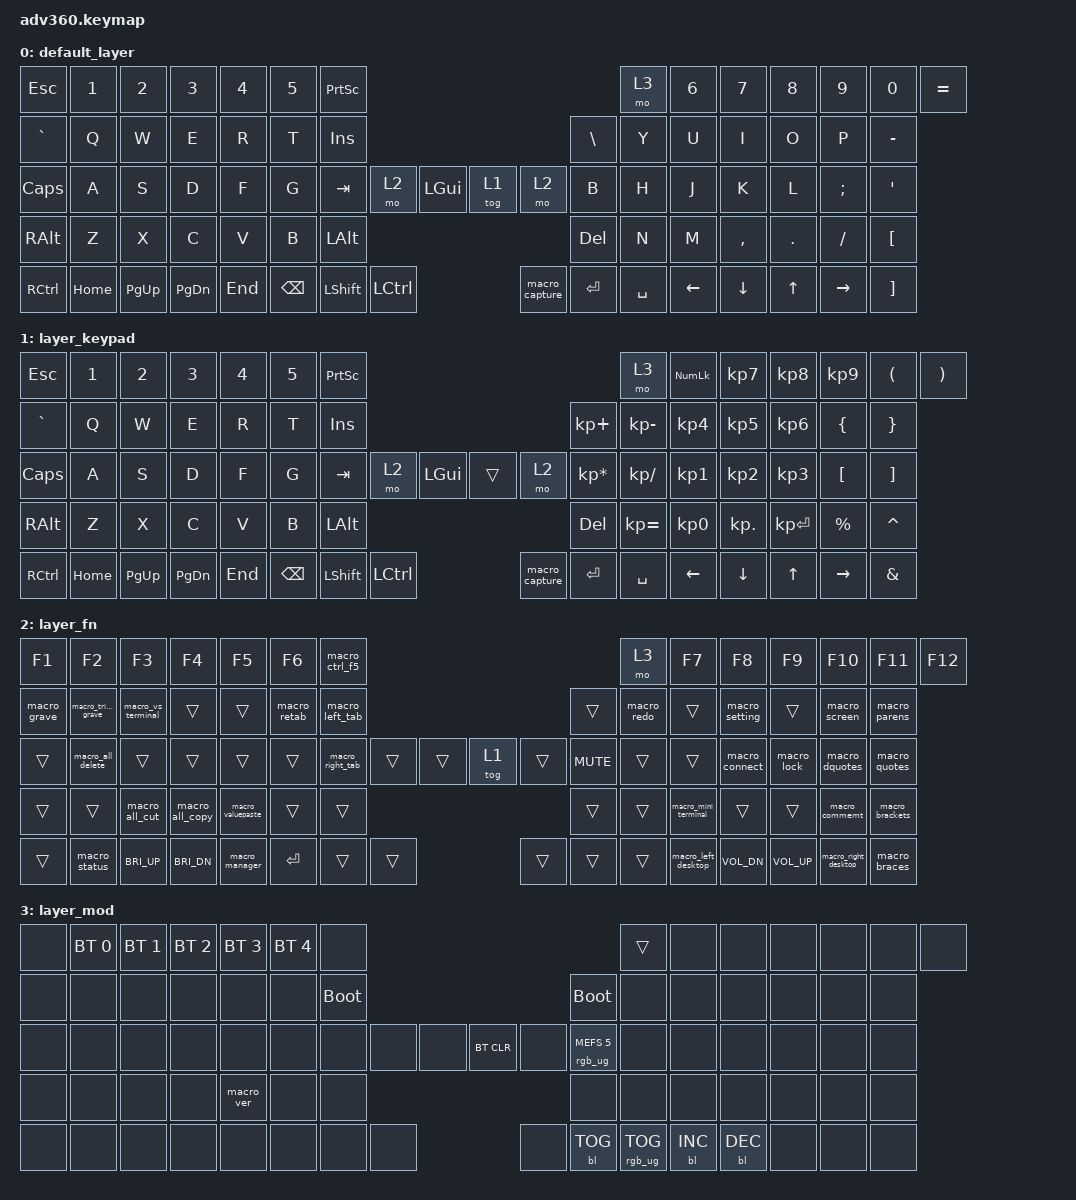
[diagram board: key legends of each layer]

/*
 * Copyright (c) 2020 The ZMK Contributors
 *
 * SPDX-License-Identifier: MIT
 */


/* THIS FILE WAS GENERATED!
 *
 * This file was generated automatically. You may or may not want to
 * edit it directly.
 */

#include <behaviors.dtsi>
#include <dt-bindings/zmk/keys.h>
#include <dt-bindings/zmk/bt.h>
#include <dt-bindings/zmk/rgb.h>
#include <dt-bindings/zmk/backlight.h>

/ {
  behaviors {
    #include "macros.dtsi"
    #include "version.dtsi"

    hm: homerow_mods {
        compatible = "zmk,behavior-hold-tap";
        label = "HOMEROW_MODS";
        #binding-cells = <2>;
        tapping-term-ms = <200>;
        quick_tap_ms = <175>;
        flavor = "tap-preferred";
        bindings = <&kp>, <&kp>;
    };
  };

    keymap {
        compatible = "zmk,keymap";


        default_layer {
            bindings = <
   &kp ESC    &kp N1     &kp N2     &kp N3   &kp N4  &kp N5            &kp PSCRN                                                                        &mo 3  &kp N6    &kp N7     &kp N8   &kp N9     &kp N0  &kp EQUAL
 &kp GRAVE     &kp Q      &kp W      &kp E    &kp R   &kp T              &kp INS                                                                     &kp BSLH   &kp Y     &kp U      &kp I    &kp O      &kp P  &kp MINUS
  &kp CAPS     &kp A      &kp S      &kp D    &kp F   &kp G              &kp TAB       &mo 2   &kp LGUI                          &tog 1      &mo 2      &kp B   &kp H     &kp J      &kp K    &kp L   &kp SEMI    &kp SQT
  &kp RALT     &kp Z      &kp X      &kp C    &kp V   &kp B                                    &kp LALT                         &kp DEL                         &kp N     &kp M  &kp COMMA  &kp DOT   &kp FSLH   &kp LBKT
 &kp RCTRL  &kp HOME  &kp PG_UP  &kp PG_DN  &kp END                     &kp BSPC  &kp LSHIFT  &kp LCTRL                  &macro_capture  &kp ENTER  &kp SPACE          &kp LEFT   &kp DOWN   &kp UP  &kp RIGHT   &kp RBKT
            >;
        };

        layer_keypad {
            bindings = <
   &kp ESC    &kp N1     &kp N2     &kp N3   &kp N4  &kp N5            &kp PSCRN                                                                              &mo 3     &kp KP_NUM  &kp KP_N7   &kp KP_N8     &kp KP_N9  &kp LEFT_PARENTHESIS  &kp RIGHT_PARENTHESIS
 &kp GRAVE     &kp Q      &kp W      &kp E    &kp R   &kp T              &kp INS                                                                        &kp KP_PLUS   &kp KP_MINUS  &kp KP_N4   &kp KP_N5     &kp KP_N6        &kp LEFT_BRACE        &kp RIGHT_BRACE
  &kp CAPS     &kp A      &kp S      &kp D    &kp F   &kp G              &kp TAB       &mo 2   &kp LGUI                          &trans      &mo 2  &kp KP_MULTIPLY  &kp KP_DIVIDE  &kp KP_N1   &kp KP_N2     &kp KP_N3      &kp LEFT_BRACKET      &kp RIGHT_BRACKET
  &kp RALT     &kp Z      &kp X      &kp C    &kp V   &kp B                                    &kp LALT                         &kp DEL                               &kp KP_EQUAL  &kp KP_N0  &kp KP_DOT  &kp KP_ENTER           &kp PERCENT              &kp CARET
 &kp RCTRL  &kp HOME  &kp PG_UP  &kp PG_DN  &kp END                     &kp BSPC  &kp LSHIFT  &kp LCTRL                  &macro_capture  &kp ENTER        &kp SPACE                  &kp LEFT    &kp DOWN        &kp UP             &kp RIGHT               &kp AMPS
            >;
        };

        layer_fn {
            bindings = <
       &kp F1               &kp F2              &kp F3           &kp F4             &kp F5        &kp F6              &macro_ctrl_f5                                                       &mo 3       &kp F7                &kp F8          &kp F9       &kp F10               &kp F11          &kp F12
 &macro_grave  &macro_triple_grave  &macro_vs_terminal           &trans             &trans  &macro_retab             &macro_left_tab                                                      &trans  &macro_redo                &trans  &macro_setting        &trans         &macro_screen    &macro_parens
       &trans    &macro_all_delete              &trans           &trans             &trans        &trans            &macro_right_tab  &trans  &trans                  &tog 1  &trans  &kp C_MUTE       &trans                &trans  &macro_connect   &macro_lock        &macro_dquotes    &macro_quotes
       &trans               &trans      &macro_all_cut  &macro_all_copy  &macro_valuepaste        &trans                                      &trans                  &trans                           &trans  &macro_mini_terminal          &trans        &trans        &macro_commemt  &macro_brackets
       &trans        &macro_status        &kp C_BRI_UP     &kp C_BRI_DN     &macro_manager                                 &kp ENTER  &trans  &trans                  &trans  &trans      &trans                &macro_left_desktop    &kp C_VOL_DN  &kp C_VOL_UP  &macro_right_desktop    &macro_braces
            >;
        };

        layer_mod {
            bindings = <
  &none  &bt BT_SEL 0  &bt BT_SEL 1  &bt BT_SEL 2  &bt BT_SEL 3  &bt BT_SEL 4                  &none                                                                          &trans   &none       &none       &none   &none   &none   &none
  &none         &none         &none         &none         &none         &none            &bootloader                                                                     &bootloader   &none       &none       &none   &none   &none   &none
  &none         &none         &none         &none         &none         &none                  &none   &none   &none                  &bt BT_CLR       &none  &rgb_ug RGB_MEFS_CMD 5   &none       &none       &none   &none   &none   &none
  &none         &none         &none         &none    &macro_ver         &none                                  &none                       &none                                       &none       &none       &none   &none   &none   &none
  &none         &none         &none         &none         &none                                &none   &none   &none                       &none  &bl BL_TOG         &rgb_ug RGB_TOG          &bl BL_INC  &bl BL_DEC   &none   &none   &none
            >;
        };

    };
};
